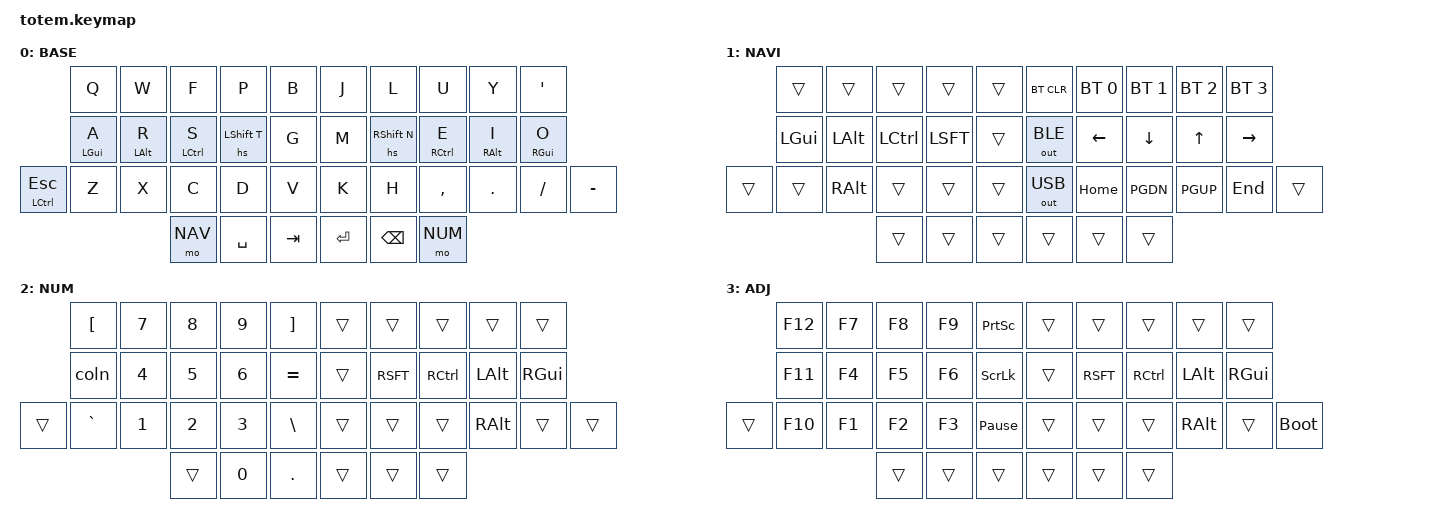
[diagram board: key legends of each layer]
//
//                                                        ▀▀▀▀▀     ▀▀▀▀▀          ▀▀█▀▀
//                                                        ▄▀▀▀▄  ▄  ▄▀▀▀▄  ▄  ▄▀▀▀▄  █  ▄▀▀▀▄
//                                                        █   █  █  █   █  █  █   █  █  █   █
//                                                         ▀▀▀   █   ▀▀▀   █   ▀▀▀   ▀   ▀▀▀
//                                                               █      ▄▄▄█▄▄▄    █   █
//                                                               ▀      █  █  █     █▄█
//                                                             ▀▀▀▀▀    █  █  █      ▀
//                                                                      ▀  ▀  ▀
//
// ▄▄▄▄▄▄▄▄▄▄▄▄▄▄▄▄▄▄▄▄▄▄▄▄▄▄▄▄▄▄▄▄▄▄▄▄▄▄▄▄▄▄▄▄▄▄▄▄▄▄▄▄▄▄▄▄▄▄▄▄▄▄▄▄▄▄▄▄▄▄▄▄▄▄▄▄▄▄▄▄▄▄▄▄▄▄▄▄▄▄▄▄▄▄▄▄▄▄▄▄▄▄▄▄▄▄▄▄▄▄▄▄▄▄▄▄▄▄▄▄▄▄▄▄▄▄▄▄▄▄▄▄▄▄▄▄▄▄▄▄▄▄▄▄▄▄▄▄▄


#include <behaviors.dtsi>
#include <dt-bindings/zmk/keys.h>
#include <dt-bindings/zmk/bt.h>
#include <dt-bindings/zmk/outputs.h

/ {


        keymap {
                compatible = "zmk,keymap";
// ▄▄▄▄▄▄▄▄▄▄▄▄▄▄▄▄▄▄▄▄▄▄▄▄▄▄▄▄▄▄▄▄▄▄▄▄▄▄▄▄▄▄▄▄▄▄▄▄▄▄▄▄▄▄▄▄▄▄▄▄▄▄▄▄▄▄▄▄▄▄▄▄▄▄▄▄▄▄▄▄▄▄▄▄▄▄▄▄▄▄▄▄▄▄▄▄▄▄▄▄▄▄▄▄▄▄▄▄▄▄▄▄▄▄▄▄▄▄▄▄▄▄▄▄▄▄▄▄▄▄▄▄▄▄▄▄▄▄▄▄▄▄▄▄▄▄▄▄▄

                base_layer {
// ┏━━━━━━━━━━━━━━━━━━━━━━━━━━━━━━━━━━━━━━━┓
label= "BASE"                              ;
// ┗━━━━━━━━━━━━━━━━━━━━━━━━━━━━━━━━━━━━━━━┛
//             ┏━━━━━━━━━━━┳━━━━━━━━━━━┳━━━━━━━━━━━┳━━━━━━━━━━━┳━━━━━━━━━━━┓   ┏━━━━━━━━━━━┳━━━━━━━━━━━┳━━━━━━━━━━━┳━━━━━━━━━━━┳━━━━━━━━━━━┓
//             ┃     Q     ┃     W     ┃     F     ┃     P     ┃     G     ┃   ┃     J     ┃     L     ┃     U     ┃     Y     ┃     ;     ┃
//             ┣━━━━━━━━━━━╋━━━━━━━━━━━╋━━━━━━━━━━━╋━━━━━━━━━━━╋━━━━━━━━━━━┫   ┣━━━━━━━━━━━╋━━━━━━━━━━━╋━━━━━━━━━━━╋━━━━━━━━━━━╋━━━━━━━━━━━┫
//             ┃     A     ┃     R     ┃     S     ┃     T     ┃     D     ┃   ┃     H     ┃     N     ┃     E     ┃     I     ┃     O     ┃
// ┏━━━━━━━━━━━╋━━━━━━━━━━━╋━━━━━━━━━━━╋━━━━━━━━━━━╋━━━━━━━━━━━╋━━━━━━━━━━━┫   ┣━━━━━━━━━━━╋━━━━━━━━━━━╋━━━━━━━━━━━╋━━━━━━━━━━━╋━━━━━━━━━━━╋━━━━━━━━━━━┓
// ┃           ┃     Z     ┃     X     ┃     C     ┃     V     ┃     B     ┃   ┃     K     ┃     M     ┃     ,     ┃     .     ┃     /     ┃           ┃
// ┗━━━━━━━━━━━┻━━━━━━━━━━━┻━━━━━━━━━━━╋━━━━━━━━━━━╋━━━━━━━━━━━╋━━━━━━━━━━━┫   ┣━━━━━━━━━━━╋━━━━━━━━━━━╋━━━━━━━━━━━╋━━━━━━━━━━━┻━━━━━━━━━━━┻━━━━━━━━━━━┛
//                                     ┃           ┃    TAB    ┃    SPC    ┃   ┃   ENTER   ┃   BSPC    ┃           ┃
//                                     ┗━━━━━━━━━━━┻━━━━━━━━━━━┻━━━━━━━━━━━┛   ┗━━━━━━━━━━━┻━━━━━━━━━━━┻━━━━━━━━━━━┛
 bindings = <
// ╷           ╷           ╷           ╷           ╷           ╷           ╷   ╷           ╷           ╷           ╷           ╷           ╷           ╷

                &kp Q       &kp W       &kp F       &kp P       &kp B           &kp J       &kp L       &kp U       &kp Y       &kp SQT
                &hm LGUI A  &hm LALT R  &hm LCTRL S &hs LSHFT T &kp G           &kp M       &hs RSHFT N &hm RCTRL E &hm RALT I  &hm RGUI O
    &hm LCTL ESC &kp Z       &kp X       &kp C       &kp D       &kp V           &kp K       &kp H       &kp COMMA   &kp DOT     &kp FSLH    &kp MINUS
                                         &mo NAV       &kp SPC  &kp TAB  &kp ENTER   &kp BSPC &mo NUM
                        >;
                };

// ▄▄▄▄▄▄▄▄▄▄▄▄▄▄▄▄▄▄▄▄▄▄▄▄▄▄▄▄▄▄▄▄▄▄▄▄▄▄▄▄▄▄▄▄▄▄▄▄▄▄▄▄▄▄▄▄▄▄▄▄▄▄▄▄▄▄▄▄▄▄▄▄▄▄▄▄▄▄▄▄▄▄▄▄▄▄▄▄▄▄▄▄▄▄▄▄▄▄▄▄▄▄▄▄▄▄▄▄▄▄▄▄▄▄▄▄▄▄▄▄▄▄▄▄▄▄▄▄▄▄▄▄▄▄▄▄▄▄▄▄▄▄▄▄▄▄▄▄▄


                nav_layer {
// ┏━━━━━━━━━━━━━━━━━━━━━━━━━━━━━━━━━━━━━━━┓
label= "NAVI"                              ;
// ┗━━━━━━━━━━━━━━━━━━━━━━━━━━━━━━━━━━━━━━━┛
//             ┏━━━━━━━━━━━┳━━━━━━━━━━━┳━━━━━━━━━━━┳━━━━━━━━━━━┳━━━━━━━━━━━┓   ┏━━━━━━━━━━━┳━━━━━━━━━━━┳━━━━━━━━━━━┳━━━━━━━━━━━┳━━━━━━━━━━━┓
//             ┃           ┃           ┃     UP    ┃           ┃     {     ┃   ┃     }     ┃     7     ┃     8     ┃     9     ┃     +     ┃
//             ┣━━━━━━━━━━━╋━━━━━━━━━━━╋━━━━━━━━━━━╋━━━━━━━━━━━╋━━━━━━━━━━━┫   ┣━━━━━━━━━━━╋━━━━━━━━━━━╋━━━━━━━━━━━╋━━━━━━━━━━━╋━━━━━━━━━━━┫
//             ┃   SHIFT   ┃   LEFT    ┃    DOWN   ┃   RIGHT   ┃     [     ┃   ┃     ]     ┃     4     ┃     5     ┃     6     ┃     -     ┃
// ┏━━━━━━━━━━━╋━━━━━━━━━━━╋━━━━━━━━━━━╋━━━━━━━━━━━╋━━━━━━━━━━━╋━━━━━━━━━━━┫   ┣━━━━━━━━━━━╋━━━━━━━━━━━╋━━━━━━━━━━━╋━━━━━━━━━━━╋━━━━━━━━━━━╋━━━━━━━━━━━┓
// ┃           ┃           ┃   P UP    ┃  C LOCK   ┃  P DOWN   ┃     (     ┃   ┃     )     ┃     1     ┃     2     ┃     3     ┃     *     ┃           ┃
// ┗━━━━━━━━━━━┻━━━━━━━━━━━┻━━━━━━━━━━━╋━━━━━━━━━━━╋━━━━━━━━━━━╋━━━━━━━━━━━┫   ┣━━━━━━━━━━━╋━━━━━━━━━━━╋━━━━━━━━━━━╋━━━━━━━━━━━┻━━━━━━━━━━━┻━━━━━━━━━━━┛
//                                     ┃           ┃    TAB    ┃    SPC    ┃   ┃    DEL    ┃     0     ┃           ┃
//                                     ┗━━━━━━━━━━━┻━━━━━━━━━━━┻━━━━━━━━━━━┛   ┗━━━━━━━━━━━┻━━━━━━━━━━━┻━━━━━━━━━━━┛
 bindings = <
// ╷           ╷           ╷           ╷           ╷           ╷           ╷   ╷           ╷           ╷           ╷           ╷           ╷           ╷

    &trans       &trans       &trans      &trans        &trans                                 &bt BT_CLR    &bt BT_SEL 0 &bt BT_SEL 1  &bt BT_SEL 2 &bt BT_SEL 3
    &kp LGUI     &kp LALT     &kp LCTL    &kp LSFT      &trans                                 &out OUT_BLE  &kp LEFT     &kp DOWN      &kp UP      &kp RIGHT
    &trans     &trans       &kp RALT     &trans      &trans        &trans                                 &out OUT_USB  &kp HOME     &kp PGDN      &kp PGUP    &kp END     &trans
                                         &trans       &trans        &trans      &trans        &trans       &trans
            >;
                };

// ▄▄▄▄▄▄▄▄▄▄▄▄▄▄▄▄▄▄▄▄▄▄▄▄▄▄▄▄▄▄▄▄▄▄▄▄▄▄▄▄▄▄▄▄▄▄▄▄▄▄▄▄▄▄▄▄▄▄▄▄▄▄▄▄▄▄▄▄▄▄▄▄▄▄▄▄▄▄▄▄▄▄▄▄▄▄▄▄▄▄▄▄▄▄▄▄▄▄▄▄▄▄▄▄▄▄▄▄▄▄▄▄▄▄▄▄▄▄▄▄▄▄▄▄▄▄▄▄▄▄▄▄▄▄▄▄▄▄▄▄▄▄▄▄▄▄▄▄▄


                num_layer {
// ┏━━━━━━━━━━━━━━━━━━━━━━━━━━━━━━━━━━━━━━━┓
label= "NUM"                               ;
// ┗━━━━━━━━━━━━━━━━━━━━━━━━━━━━━━━━━━━━━━━┛
//             ┏━━━━━━━━━━━┳━━━━━━━━━━━┳━━━━━━━━━━━┳━━━━━━━━━━━┳━━━━━━━━━━━┓   ┏━━━━━━━━━━━┳━━━━━━━━━━━┳━━━━━━━━━━━┳━━━━━━━━━━━┳━━━━━━━━━━━┓
//             ┃     !     ┃     @     ┃     #     ┃     $     ┃     %     ┃   ┃     ˆ     ┃     &     ┃     Ü     ┃     '     ┃     "     ┃
//             ┣━━━━━━━━━━━╋━━━━━━━━━━━╋━━━━━━━━━━━╋━━━━━━━━━━━╋━━━━━━━━━━━┫   ┣━━━━━━━━━━━╋━━━━━━━━━━━╋━━━━━━━━━━━╋━━━━━━━━━━━╋━━━━━━━━━━━┫
//             ┃     Ä     ┃           ┃    SZ     ┃           ┃           ┃   ┃   MUTE    ┃   YEN     ┃   EURO    ┃  POUND    ┃     Ö     ┃
// ┏━━━━━━━━━━━╋━━━━━━━━━━━╋━━━━━━━━━━━╋━━━━━━━━━━━╋━━━━━━━━━━━╋━━━━━━━━━━━┫   ┣━━━━━━━━━━━╋━━━━━━━━━━━╋━━━━━━━━━━━╋━━━━━━━━━━━╋━━━━━━━━━━━╋━━━━━━━━━━━┓
// ┃           ┃  EMAIL1   ┃  EMAIL2   ┃           ┃           ┃           ┃   ┃   VOL-    ┃   VOL+    ┃   LAST    ┃   NEXT    ┃     \     ┃           ┃
// ┗━━━━━━━━━━━┻━━━━━━━━━━━┻━━━━━━━━━━━╋━━━━━━━━━━━╋━━━━━━━━━━━╋━━━━━━━━━━━┫   ┣━━━━━━━━━━━╋━━━━━━━━━━━╋━━━━━━━━━━━╋━━━━━━━━━━━┻━━━━━━━━━━━┻━━━━━━━━━━━┛
//                                     ┃           ┃    GIF    ┃    ADJ    ┃   ┃           ┃           ┃           ┃
//                                     ┗━━━━━━━━━━━┻━━━━━━━━━━━┻━━━━━━━━━━━┛   ┗━━━━━━━━━━━┻━━━━━━━━━━━┻━━━━━━━━━━━┛
 bindings = <
// ╷           ╷           ╷           ╷           ╷           ╷           ╷   ╷           ╷           ╷           ╷           ╷           ╷           ╷

    &kp LBKT     &kp N7       &kp N8      &kp N9        &kp RBKT                                    &trans        &trans       &trans        &trans      &trans
    &coln     &kp N4       &kp N5      &kp N6        &kp EQL                                     &trans        &kp RSFT     &kp RCTL      &kp LALT    &kp RGUI
    &trans     &kp GRAVE    &kp N1       &kp N2      &kp N3        &kp BSLH                                    &trans        &trans       &trans        &kp RALT    &trans      &trans
                                         &trans        &kp N0       &kp DOT       &trans           &trans        &trans
                        >;
                };

// ▄▄▄▄▄▄▄▄▄▄▄▄▄▄▄▄▄▄▄▄▄▄▄▄▄▄▄▄▄▄▄▄▄▄▄▄▄▄▄▄▄▄▄▄▄▄▄▄▄▄▄▄▄▄▄▄▄▄▄▄▄▄▄▄▄▄▄▄▄▄▄▄▄▄▄▄▄▄▄▄▄▄▄▄▄▄▄▄▄▄▄▄▄▄▄▄▄▄▄▄▄▄▄▄▄▄▄▄▄▄▄▄▄▄▄▄▄▄▄▄▄▄▄▄▄▄▄▄▄▄▄▄▄▄▄▄▄▄▄▄▄▄▄▄▄▄▄▄▄


                adjust_layer {
// ┏━━━━━━━━━━━━━━━━━━━━━━━━━━━━━━━━━━━━━━━┓
label= "ADJ"                               ;
// ┗━━━━━━━━━━━━━━━━━━━━━━━━━━━━━━━━━━━━━━━┛
//             ┏━━━━━━━━━━━┳━━━━━━━━━━━┳━━━━━━━━━━━┳━━━━━━━━━━━┳━━━━━━━━━━━┓   ┏━━━━━━━━━━━┳━━━━━━━━━━━┳━━━━━━━━━━━┳━━━━━━━━━━━┳━━━━━━━━━━━┓
//             ┃   RESET   ┃ BT CLEAR  ┃  OUT TOG  ┃           ┃           ┃   ┃           ┃    F7     ┃    F8     ┃    F9     ┃    F12    ┃
//             ┣━━━━━━━━━━━╋━━━━━━━━━━━╋━━━━━━━━━━━╋━━━━━━━━━━━╋━━━━━━━━━━━┫   ┣━━━━━━━━━━━╋━━━━━━━━━━━╋━━━━━━━━━━━╋━━━━━━━━━━━╋━━━━━━━━━━━┫
//             ┃ BOOTLOAD  ┃ BT NEXT   ┃           ┃           ┃           ┃   ┃           ┃    F4     ┃    F5     ┃    F6     ┃    F11    ┃
// ┏━━━━━━━━━━━╋━━━━━━━━━━━╋━━━━━━━━━━━╋━━━━━━━━━━━╋━━━━━━━━━━━╋━━━━━━━━━━━┫   ┣━━━━━━━━━━━╋━━━━━━━━━━━╋━━━━━━━━━━━╋━━━━━━━━━━━╋━━━━━━━━━━━╋━━━━━━━━━━━┓
// ┃           ┃           ┃ BT PREV   ┃           ┃           ┃           ┃   ┃           ┃    F1     ┃    F2     ┃    F3     ┃    F10    ┃           ┃
// ┗━━━━━━━━━━━┻━━━━━━━━━━━┻━━━━━━━━━━━╋━━━━━━━━━━━╋━━━━━━━━━━━╋━━━━━━━━━━━┫   ┣━━━━━━━━━━━╋━━━━━━━━━━━╋━━━━━━━━━━━╋━━━━━━━━━━━┻━━━━━━━━━━━┻━━━━━━━━━━━┛
//                                     ┃           ┃           ┃           ┃   ┃           ┃           ┃           ┃
//                                     ┗━━━━━━━━━━━┻━━━━━━━━━━━┻━━━━━━━━━━━┛   ┗━━━━━━━━━━━┻━━━━━━━━━━━┻━━━━━━━━━━━┛
 bindings = <
// ╷           ╷           ╷           ╷           ╷           ╷           ╷   ╷           ╷           ╷           ╷           ╷           ╷           ╷

    &kp F12      &kp F7       &kp F8      &kp F9        &kp PSCRN                                   &trans        &trans       &trans        &trans      &trans
    &kp F11      &kp F4       &kp F5      &kp F6        &kp SLCK                                    &trans        &kp RSFT     &kp RCTL      &kp LALT    &kp RGUI
    &trans     &kp F10      &kp F1       &kp F2      &kp F3        &kp PAUSE_BREAK                             &trans        &trans       &trans        &kp RALT    &trans      &bootloader
                                         &trans        &trans       &trans        &trans           &trans        &trans
                        >;
                };
        };
};
